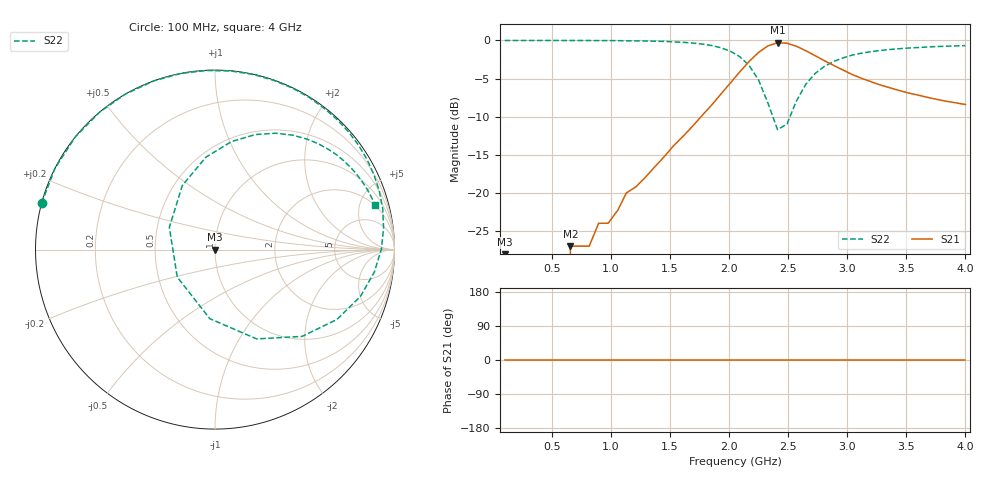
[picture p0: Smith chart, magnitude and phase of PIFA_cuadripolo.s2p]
# GHz S MA R 50
!  f  S11  S21  S12  S22
! GHz  MAG ANG MAG ANG MAG ANG  MAG  ANG
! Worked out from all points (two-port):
!   50 points, 100 MHz to 4 GHz, reference 50 ohm
!   highest |S21| = -0.30 dB at 2.41 GHz (marker M1); lowest = -27.0 dB at 657 MHz (marker M2)
!   |S21| within 3 dB of the highest: 2.138 GHz to 2.888 GHz (750.3 MHz wide, 29.9 % of centre)
!   lowest |S11| = - dB at 100 MHz (marker M3), VSWR 1.00, Z = 50 + j0 ohm
!   |S11| at or under -10 dB: start of sweep to end of sweep
!   |S22| runs from -11.7 to 0.0 dB; largest |S21 - S12| = 0.97
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0.1  0 0.0  0 0.0  0 0.0  1 165.0
0.339  0 0.0  0 0.0  0 0.0  1 130.0
0.578  0 0.0  0 0.0  0 0.0  1 101.0
0.657  0 0.0  0.04471 0.0  0 0.0  0.999 92.7
0.816  0 0.0  0.04471 0.0  0 0.0  0.999 77.6
0.896  0 0.0  0.06321 0.0  0 0.0  0.998 70.8
0.976  0 0.0  0.06321 0.0  0 0.0  0.998 64.4
1.13  0 0.0  0.09987 0.0  0 0.0  0.995 52.5
1.45  0 0.0  0.1726 0.0  0 0.0  0.985 30.8
1.85  0 0.0  0.3751 0.0  0 0.0  0.927 0.1
2.01  0 0.0  0.5252 0.0  0 0.0  0.851 -17.9
2.09  0 0.0  0.622 0.0  0 0.0  0.783 -29.8
2.17  0 0.0  0.7285 0.0  0 0.0  0.685 -44.9
2.25  0 0.0  0.8358 0.0  0 0.0  0.549 -65.0
2.33  0 0.0  0.9225 0.0  0 0.0  0.386 -94.3
2.41  0 0.0  0.9656 0.0  0 0.0  0.26 -144.0
2.49  0 0.0  0.9591 0.0  0 0.0  0.283 154.0
2.57  0 0.0  0.9161 0.0  0 0.0  0.401 117.0
2.73  0 0.0  0.7932 0.0  0 0.0  0.609 81.3
3.04  0 0.0  0.5987 0.0  0 0.0  0.801 50.2
3.36  0 0.0  0.4895 0.0  0 0.0  0.872 34.4
4  0 0.0  0.38 0.0  0 0.0  0.925 15.7
